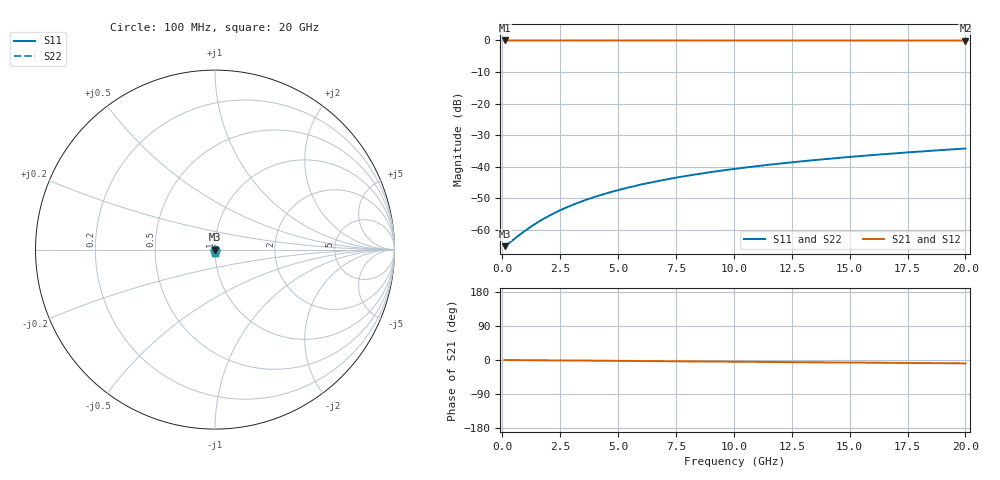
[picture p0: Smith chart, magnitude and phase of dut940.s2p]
! Touchstone file exported from HFSS 2026.1.0
!  File:  C:/ffzhzh/LocalFiles/Ansys_Project_Files/temp_train_TSV_940_1783187046_55132.aedt
!  Generated:  01:45:47 AM Jul  5, 2026
!  Design:  TSV
!  Project:  temp_train_TSV_940_1783187046_55132
! Variables:
!  h_bsmrdl = 2um
!  h_ox = 20um
!  h_rdl = 5um
!  h_sub = 97.57um
!  h_tmrdl = 5um
!  h_tsv = 97.57um
!  h_via = 3um
!  l_bsmrdl = 300um
!  l_sub = 409.3um
!  l_tmrdl = 200um
!  m_sub = 200um
!  pitch = 16.84um
!  r_tsv = 4.65um
!  s_tmrdl = 10um
!  w_bsmrdl = 18um
!  w_sub = 500um
!  w_tmrdl = 12um
!  x_tsv_center1 = 206um
!  x_tsv_center2 = 524um
!  x_tsv_center3 = 736um
!  x_tsv_center4 = 1054um
!  x_tsv_center5 = 1266um
!  x_tsv_center6 = 1584um
# GHz S MA R 50.000000
! Terminal data exported
! Port[1] = TSV1_1_T1
! Port[2] = TSV1_1_T2
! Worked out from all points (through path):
!   200 points, 100 MHz to 20 GHz, reference 50 ohm
!   highest |S21| = 0.00 dB at 100 MHz (marker M1); lowest = 0.0 dB at 20 GHz (marker M2)
!   group delay of S21, straight-line fit = 1.23 ps
!   lowest |S11| = -65.1 dB at 100 MHz (marker M3), VSWR 1.00, Z = 50.1 - j0.00246 ohm
!   |S11| at or under -10 dB: start of sweep to end of sweep
!   |S22| runs from -65.1 to -34.2 dB; largest |S21 - S12| = 4.3e-15
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0.1  0.0005551 -2.5  0.9994 -0.0  0.9994 -0.0  0.0005551 -2.5
! Gamma 0 0 0 0
! Port Impedance 50 0 50 0
0.2  0.0005836 -5.9  0.9994 -0.1  0.9994 -0.1  0.0005836 -5.9
0.7  0.0008142 -28.6  0.9993 -0.3  0.9993 -0.3  0.0008142 -28.6
1.1  0.001044 -41.8  0.9992 -0.5  0.9992 -0.5  0.001044 -41.8
1.4  0.001237 -48.5  0.9992 -0.6  0.9992 -0.6  0.001237 -48.5
1.8  0.001517 -54.7  0.9991 -0.8  0.9991 -0.8  0.001517 -54.7
2.2  0.001818 -59.0  0.999 -1.0  0.999 -1.0  0.001818 -59.0
2.6  0.002135 -62.1  0.999 -1.2  0.999 -1.2  0.002135 -62.1
3  0.002467 -64.5  0.9989 -1.4  0.9989 -1.4  0.002467 -64.5
3.5  0.002899 -66.8  0.9988 -1.6  0.9988 -1.6  0.002899 -66.8
4.2  0.003531 -69.3  0.9986 -1.9  0.9986 -1.9  0.003531 -69.3
5  0.004281 -71.6  0.9985 -2.3  0.9985 -2.3  0.004281 -71.6
5.9  0.00515 -73.8  0.9983 -2.7  0.9983 -2.7  0.00515 -73.8
6.8  0.006036 -75.7  0.9982 -3.1  0.9982 -3.1  0.006036 -75.7
7.5  0.006733 -76.9  0.9981 -3.4  0.9981 -3.4  0.006733 -76.9
8.3  0.007535 -78.3  0.998 -3.7  0.998 -3.7  0.007535 -78.3
10.1  0.00935 -80.8  0.9977 -4.5  0.9977 -4.5  0.00935 -80.8
11.7  0.01097 -82.7  0.9976 -5.2  0.9976 -5.2  0.01097 -82.7
13.4  0.0127 -84.5  0.9974 -6.0  0.9974 -6.0  0.0127 -84.5
15  0.01433 -85.9  0.9972 -6.7  0.9972 -6.7  0.01433 -85.9
16.7  0.01608 -87.3  0.997 -7.5  0.997 -7.5  0.01608 -87.3
20  0.01949 -89.7  0.9967 -8.9  0.9967 -8.9  0.01949 -89.7
